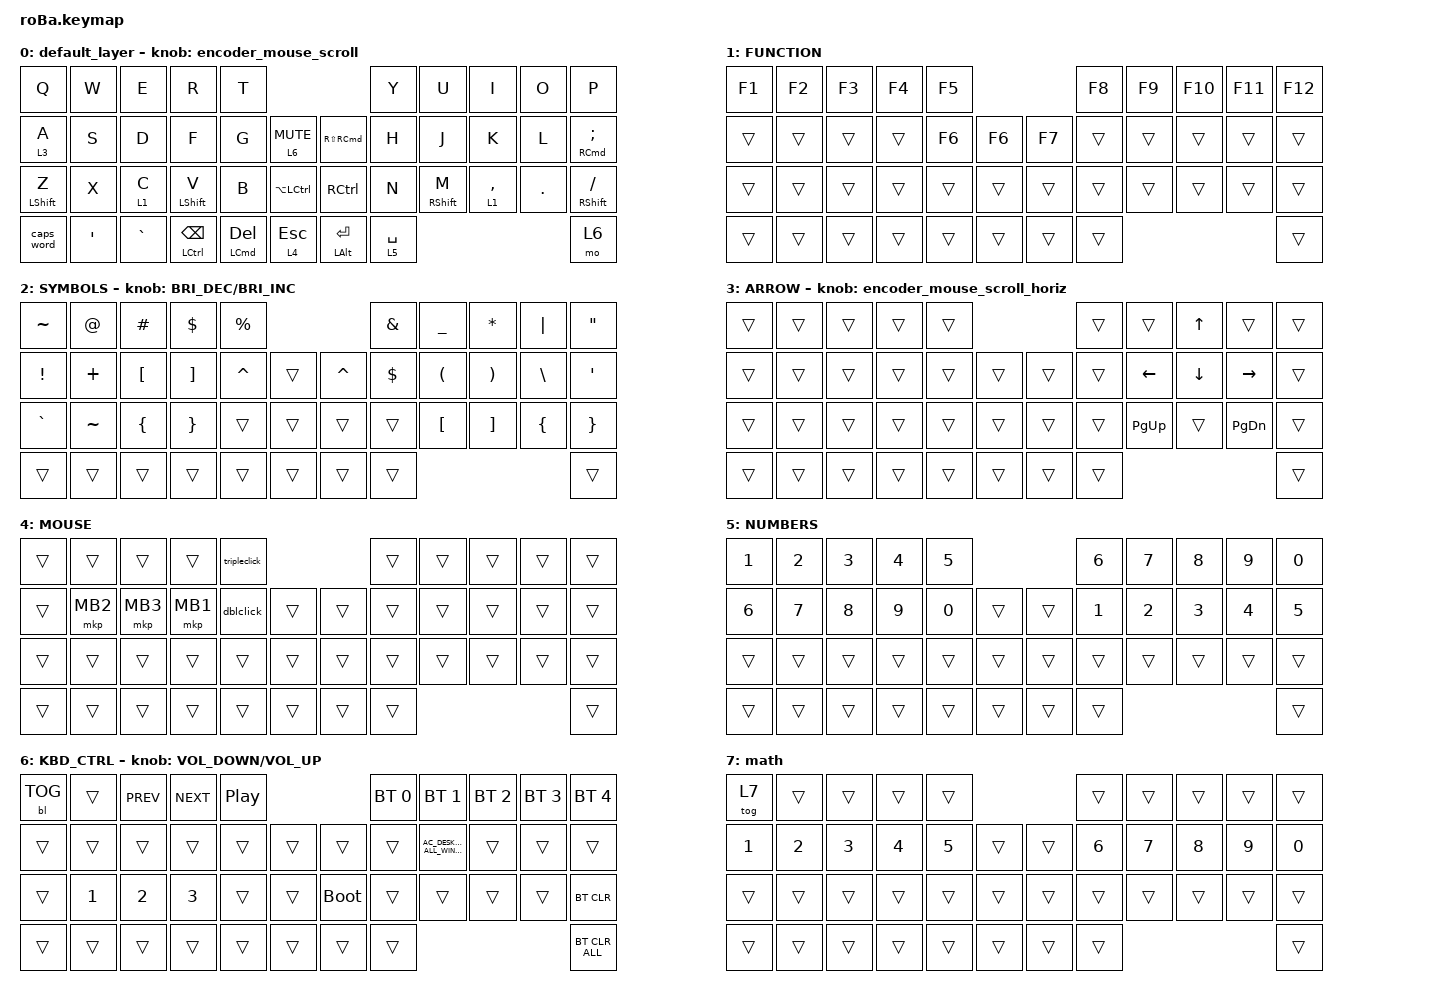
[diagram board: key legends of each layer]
#include <behaviors.dtsi>
#include <dt-bindings/zmk/backlight.h>
#include <dt-bindings/zmk/bt.h>
#include <dt-bindings/zmk/keys.h>
#include <dt-bindings/zmk/pointing.h>

&mt {
    flavor = "balanced";
    quick-tap-ms = <0>;
};

&trackball {
    // automouse-layer = <4>;
    // scroll-layers = <5>;
    // arrows {
    //     layers = <3>;
    //     bindings =
    //         <&kp RIGHT_ARROW>,
    //         <&kp LEFT_ARROW>,
    //         <&kp UP_ARROW>,
    //         <&kp DOWN_ARROW>;
    //     tick = <10>;
    //     wait-ms = <5>;
    //     tap-ms = <5>;
    // };
};

/ {
    combos {
        compatible = "zmk,combos";

        tab {
            bindings = <&kp TAB>;
            key-positions = <11 10>;
        };

        shift_tab {
            bindings = <&kp LS(TAB)>;
            key-positions = <12 11>;
        };

        double_quotation {
            bindings = <&kp DOUBLE_QUOTES>;
            key-positions = <20 21>;
        };

        eq {
            bindings = <&kp EQUAL>;
            key-positions = <24 25>;
        };

        single_quote {
            bindings = <&kp SQT>;
            key-positions = <20 19>;
        };

        shift_ctrl {
            bindings = <&kp LS(LEFT_CONTROL)>;
            key-positions = <10 22>;
        };

        symbols_lhs {
            bindings = <&mo 2>;
            key-positions = <12 13>;
        };

        symbols_rhs {
            bindings = <&mo 2>;
            key-positions = <18 19>;
        };

        cmd_num_rhs {
            bindings = <&mod_layer 5 RIGHT_COMMAND>;
            key-positions = <33 32>;
        };

        cmd_num_lhs {
            bindings = <&mod_layer 5 LEFT_COMMAND>;
            key-positions = <22 23>;
        };

        shift_cmd_rhs {
            bindings = <&kp RS(RIGHT_COMMAND)>;
            key-positions = <41 21>;
        };

        cmd_sym_rhs {
            bindings = <&mod_layer 2 RIGHT_COMMAND>;
            key-positions = <33 31>;
        };

        cmd_sym_lhs {
            bindings = <&mod_layer 2 LEFT_COMMAND>;
            key-positions = <22 24>;
        };

        dash {
            bindings = <&kp MINUS>;
            key-positions = <30 31>;
        };

        underscore {
            bindings = <&kp UNDERSCORE>;
            key-positions = <29 30>;
        };

        right_ctrl {
            bindings = <&kp RIGHT_CONTROL>;
            key-positions = <20 18>;
        };

        zero {
            bindings = <&kp N0>;
            key-positions = <9 8>;
        };

        dollar {
            bindings = <&kp DOLLAR>;
            key-positions = <2 3>;
            require-prior-idle-ms = <100>;
        };

        caret {
            bindings = <&kp CARET>;
            key-positions = <6 7>;
        };
    };

    macros {
        to_layer_0: to_layer_0 {
            compatible = "zmk,behavior-macro-one-param";
            #binding-cells = <1>;
            bindings = <&to 0 &macro_param_1to1 &kp MACRO_PLACEHOLDER>;
            label = "TO_LAYER_0";
        };

        dblclick: dblclick {
            compatible = "zmk,behavior-macro";
            #binding-cells = <0>;
            bindings = <&mkp MB1>, <&macro_wait_time 100>, <&mkp MB1>;

            label = "DBLCLICK";
        };

        tripleclick: tripleclick {
            compatible = "zmk,behavior-macro";
            #binding-cells = <0>;
            bindings =
                <&mkp MB1>,
                <&macro_wait_time 100>,
                <&mkp MB1>,
                <&macro_wait_time 100>,
                <&mkp MB1>;

            label = "TRIPLECLICK";
        };

        mod_layer: mod_layer {
            compatible = "zmk,behavior-macro-two-param";
            #binding-cells = <2>;
            bindings =
                <&macro_param_1to1>,
                <&macro_press>,
                <&mo MACRO_PLACEHOLDER &macro_param_2to1>,
                <&macro_press>,
                <&kp MACRO_PLACEHOLDER>,
                <&macro_pause_for_release>,
                <&macro_param_2to1>,
                <&macro_release>,
                <&kp MACRO_PLACEHOLDER &macro_param_1to1>,
                <&macro_release>,
                <&mo MACRO_PLACEHOLDER>;
        };
    };

    behaviors {
        tap_repeat: tap_repeat {
            compatible = "zmk,behavior-hold-tap";
            label = "TAP_REPEAT";
            bindings = <&kp>, <&kp>;

            #binding-cells = <2>;
            tapping-term-ms = <150>;
            quick-tap-ms = <150>;
            flavor = "balanced";
        };

        encoder_kp: encoder_kp {
            compatible = "zmk,behavior-sensor-rotate-var";
            label = "ENCODER_KP";
            #sensor-binding-cells = <2>;
            bindings = <&kp>, <&kp>;
        };

        tap_repeat_hold_layer: tap_repeat_hold_layer {
            compatible = "zmk,behavior-hold-tap";
            label = "TAP_REPEAT_HOLD_LAYER";
            bindings = <&mo>, <&kp>;

            #binding-cells = <2>;
            tapping-term-ms = <150>;
            quick-tap-ms = <150>;
            flavor = "balanced";
        };

        encoder_mouse_scroll: encoder_mouse_scroll {
            compatible = "zmk,behavior-sensor-rotate";
            label = "ENCODER_MOUSE_SCROLL";
            #sensor-binding-cells = <0>;
            bindings = <&msc MOVE_Y(-80)>, <&msc MOVE_Y(80)>;

            tap-ms = <20>;
        };

        encoder_mouse_scroll_horiz: encoder_mouse_scroll_horiz {
            compatible = "zmk,behavior-sensor-rotate";
            label = "ENCODER_MOUSE_SCROLL_HORIZ";
            #sensor-binding-cells = <0>;
            bindings = <&msc MOVE_X(-80)>, <&msc MOVE_X(80)>;

            tap-ms = <20>;
        };
    };

    keymap {
        compatible = "zmk,keymap";

        default_layer {
            bindings = <
&kp Q                       &kp W    &kp E                       &kp R                               &kp T                                                                                  &kp Y                           &kp U                      &kp I                           &kp O    &kp P
&tap_repeat_hold_layer 3 A  &kp S    &kp D                       &kp F                               &kp G                            &lt 6 C_MUTE              &kp RS(RIGHT_COMMAND)       &kp H                           &kp J                      &kp K                           &kp L    &tap_repeat RIGHT_COMMAND SEMICOLON
&tap_repeat LEFT_SHIFT Z    &kp X    &tap_repeat_hold_layer 1 C  &mt LEFT_SHIFT V                    &kp B                            &kp LA(LEFT_CONTROL)      &kp RIGHT_CONTROL           &kp N                           &tap_repeat RIGHT_SHIFT M  &tap_repeat_hold_layer 1 COMMA  &kp DOT  &tap_repeat RIGHT_SHIFT SLASH
&caps_word                  &kp SQT  &kp GRAVE                   &tap_repeat LEFT_CONTROL BACKSPACE  &tap_repeat LEFT_COMMAND DELETE  &lt 4 ESCAPE              &tap_repeat LEFT_ALT ENTER  &tap_repeat_hold_layer 5 SPACE                                                                      &mo 6
            >;

            sensor-bindings = <&encoder_mouse_scroll>;
        };

        FUNCTION {
            bindings = <
&kp F1  &kp F2  &kp F3  &kp F4  &kp F5                      &kp F8  &kp F9  &kp F10  &kp F11  &kp F12
&trans  &trans  &trans  &trans  &kp F6  &kp F6      &kp F7  &trans  &trans  &trans   &trans   &trans
&trans  &trans  &trans  &trans  &trans  &trans      &trans  &trans  &trans  &trans   &trans   &trans
&trans  &trans  &trans  &trans  &trans  &trans      &trans  &trans                            &trans
            >;
        };

        SYMBOLS {
            bindings = <
&kp TILDE        &kp AT_SIGN  &kp HASH          &kp DOLLAR         &kp PERCENT                         &kp AMPERSAND  &kp UNDERSCORE        &kp ASTERISK           &kp PIPE        &kp DOUBLE_QUOTES
&kp EXCLAMATION  &kp PLUS     &kp LEFT_BRACKET  &kp RIGHT_BRACKET  &kp CARET    &trans      &kp CARET  &kp DOLLAR     &kp LEFT_PARENTHESIS  &kp RIGHT_PARENTHESIS  &kp BACKSLASH   &kp SINGLE_QUOTE
&kp GRAVE        &kp TILDE    &kp LEFT_BRACE    &kp RIGHT_BRACE    &trans       &trans      &trans     &trans         &kp LEFT_BRACKET      &kp RIGHT_BRACKET      &kp LEFT_BRACE  &kp RIGHT_BRACE
&trans           &trans       &trans            &trans             &trans       &trans      &trans     &trans                                                                      &trans
            >;

            sensor-bindings = <&encoder_kp C_BRIGHTNESS_DEC C_BRIGHTNESS_INC>;
        };

        ARROW {
            bindings = <
&trans  &trans  &trans  &trans  &trans                      &trans  &trans          &kp UP_ARROW    &trans           &trans
&trans  &trans  &trans  &trans  &trans  &trans      &trans  &trans  &kp LEFT_ARROW  &kp DOWN_ARROW  &kp RIGHT_ARROW  &trans
&trans  &trans  &trans  &trans  &trans  &trans      &trans  &trans  &kp PAGE_UP     &trans          &kp PAGE_DOWN    &trans
&trans  &trans  &trans  &trans  &trans  &trans      &trans  &trans                                                   &trans
            >;

            sensor-bindings = <&encoder_mouse_scroll_horiz>;
        };

        MOUSE {
            bindings = <
&trans  &trans    &trans    &trans    &tripleclick                      &trans  &trans  &trans  &trans  &trans
&trans  &mkp MB2  &mkp MB3  &mkp MB1  &dblclick     &trans      &trans  &trans  &trans  &trans  &trans  &trans
&trans  &trans    &trans    &trans    &trans        &trans      &trans  &trans  &trans  &trans  &trans  &trans
&trans  &trans    &trans    &trans    &trans        &trans      &trans  &trans                          &trans
            >;
        };

        NUMBERS {
            bindings = <
&kp N1  &kp N2  &kp N3  &kp N4  &kp N5                      &kp N6  &kp N7  &kp N8  &kp N9  &kp N0
&kp N6  &kp N7  &kp N8  &kp N9  &kp N0  &trans      &trans  &kp N1  &kp N2  &kp N3  &kp N4  &kp N5
&trans  &trans  &trans  &trans  &trans  &trans      &trans  &trans  &trans  &trans  &trans  &trans
&trans  &trans  &trans  &trans  &trans  &trans      &trans  &trans                          &trans
            >;
        };

        KBD_CTRL {
            bindings = <
&bl BL_TOG  &trans        &kp C_PREV    &kp C_NEXT    &kp C_PLAY_PAUSE                           &bt BT_SEL 0  &bt BT_SEL 1                       &bt BT_SEL 2  &bt BT_SEL 3  &bt BT_SEL 4
&trans      &trans        &trans        &trans        &trans            &trans      &trans       &trans        &kp C_AC_DESKTOP_SHOW_ALL_WINDOWS  &trans        &trans        &trans
&trans      &kp NUMBER_1  &kp NUMBER_2  &kp NUMBER_3  &trans            &trans      &bootloader  &trans        &trans                             &trans        &trans        &bt BT_CLR
&trans      &trans        &trans        &trans        &trans            &trans      &trans       &trans                                                                       &bt BT_CLR_ALL
            >;

            sensor-bindings = <&encoder_kp C_VOLUME_DOWN C_VOLUME_UP>;
        };

        math {
            bindings = <
&tog 7  &trans  &trans  &trans  &trans                      &trans  &trans  &trans  &trans  &trans
&kp N1  &kp N2  &kp N3  &kp N4  &kp N5  &trans      &trans  &kp N6  &kp N7  &kp N8  &kp N9  &kp N0
&trans  &trans  &trans  &trans  &trans  &trans      &trans  &trans  &trans  &trans  &trans  &trans
&trans  &trans  &trans  &trans  &trans  &trans      &trans  &trans                          &trans
            >;
        };
    };
};
